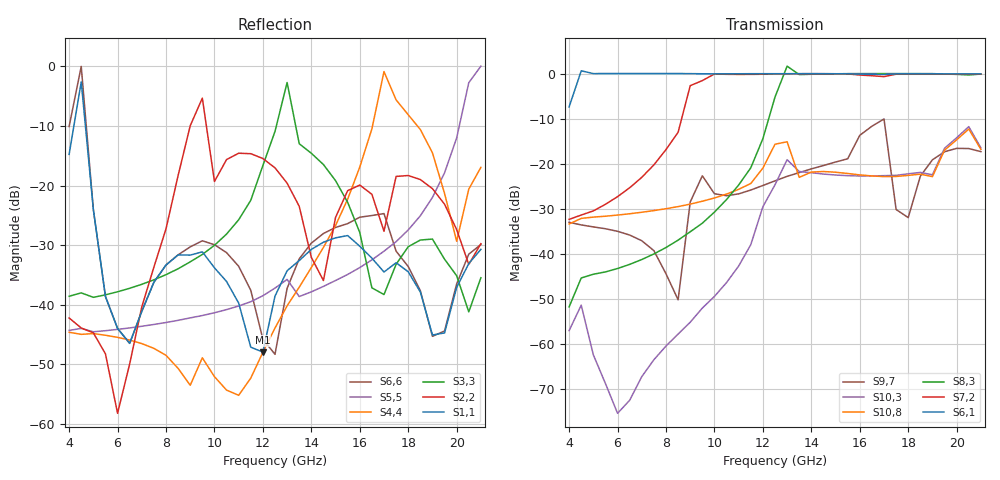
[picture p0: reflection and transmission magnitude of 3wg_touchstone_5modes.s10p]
! S-parameter export from POSTFEKO
! Filename: circular_3wg_5modes
! Creation date: 2020-01-07 09:12:39
# Hz S MA R  5.0000000E+01
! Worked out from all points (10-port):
!   35 points, 4 GHz to 21 GHz, reference 50 ohm
!   strongest paths, dB at 4 GHz, 8 GHz, 12.5 GHz, 17 GHz, 21 GHz:
!     S6,1: -7.4, 0.0, 0.0, -0.2, -0.1
!     S7,2: -32.4, -16.9, -0.1, -0.7, -0.1
!     S8,3: -51.8, -38.6, -5.2, 0.0, -0.1
!     S10,8: -33.4, -30.0, -15.7, -22.9, -16.8
!     S10,3: -57.1, -60.5, -24.7, -22.7, -16.5
!     S9,7: -33.0, -44.5, -23.8, -10.1, -17.3
!   lowest |S11| = -48.0 dB at 12 GHz (marker M1), VSWR 1.01, Z = 50 + j0.399 ohm
!   |S11| at or under -10 dB: start of sweep to 4.196 GHz; 4.673 GHz to end of sweep
